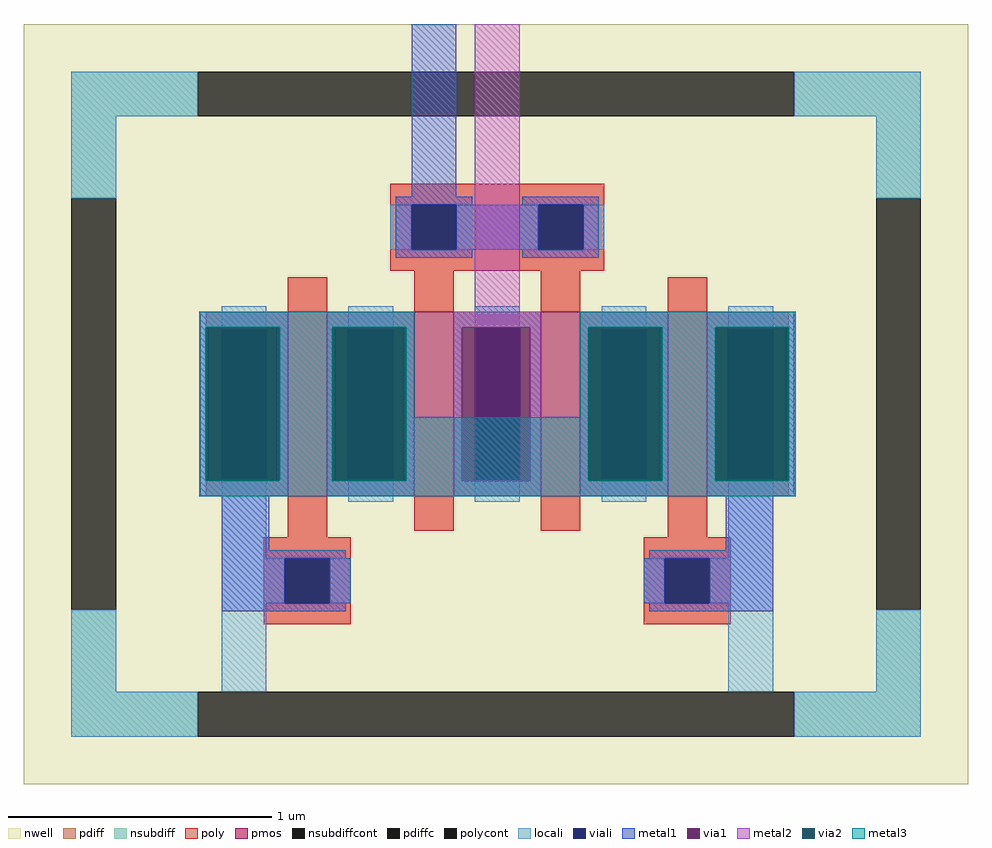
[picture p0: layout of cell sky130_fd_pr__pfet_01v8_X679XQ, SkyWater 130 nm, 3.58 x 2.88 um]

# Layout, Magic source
magic
tech sky130A
magscale 1 2
<< nwell >>
rect -358 -288 358 288
<< pmos >>
rect -158 -70 -128 70
rect -62 -70 -32 70
rect 34 -70 64 70
rect 130 -70 160 70
<< pdiff >>
rect -220 58 -158 70
rect -220 -58 -208 58
rect -174 -58 -158 58
rect -220 -70 -158 -58
rect -128 58 -62 70
rect -128 -58 -112 58
rect -78 -58 -62 58
rect -128 -70 -62 -58
rect -32 58 34 70
rect -32 -58 -16 58
rect 18 -58 34 58
rect -32 -70 34 -58
rect 64 58 130 70
rect 64 -58 80 58
rect 114 -58 130 58
rect 64 -70 130 -58
rect 160 58 222 70
rect 160 -58 176 58
rect 210 -58 222 58
rect 160 -70 222 -58
<< pdiffc >>
rect -208 -58 -174 58
rect -112 -58 -78 58
rect -16 -58 18 58
rect 80 -58 114 58
rect 176 -58 210 58
<< nsubdiff >>
rect -322 218 -226 252
rect 226 218 322 252
rect -322 156 -288 218
rect 288 156 322 218
rect -322 -218 -288 -156
rect 288 -218 322 -156
rect -322 -252 -226 -218
rect 226 -252 322 -218
<< nsubdiffcont >>
rect -226 218 226 252
rect -322 -156 -288 156
rect 288 -156 322 156
rect -226 -252 226 -218
<< poly >>
rect -80 151 82 167
rect -80 117 -64 151
rect -30 117 32 151
rect 66 117 82 151
rect -80 101 82 117
rect -158 70 -128 96
rect -62 70 -32 101
rect 34 70 64 101
rect 130 70 160 96
rect -158 -101 -128 -70
rect -62 -96 -32 -70
rect 34 -96 64 -70
rect 130 -101 160 -70
rect -176 -117 -110 -101
rect -176 -151 -160 -117
rect -126 -151 -110 -117
rect -176 -167 -110 -151
rect 112 -117 178 -101
rect 112 -151 128 -117
rect 162 -151 178 -117
rect 112 -167 178 -151
<< polycont >>
rect -64 117 -30 151
rect 32 117 66 151
rect -160 -151 -126 -117
rect 128 -151 162 -117
<< locali >>
rect -322 218 -226 252
rect 226 218 322 252
rect -322 156 -288 218
rect 288 156 322 218
rect -80 117 -64 151
rect -30 117 32 151
rect 66 117 82 151
rect -322 -218 -288 -156
rect -208 58 -174 74
rect -208 -117 -174 -58
rect -112 58 -78 74
rect -112 -74 -78 -58
rect -16 58 18 74
rect -16 -74 18 -58
rect 80 58 114 74
rect 80 -74 114 -58
rect 176 58 210 74
rect 176 -117 210 -58
rect -208 -151 -160 -117
rect -126 -151 -110 -117
rect 112 -151 128 -117
rect 162 -151 210 -117
rect -208 -218 -174 -151
rect 176 -218 210 -151
rect 288 -218 322 -156
rect -322 -252 -226 -218
rect 226 -252 322 -218
<< viali >>
rect -64 117 -30 151
rect 32 117 66 151
rect -208 -58 -174 58
rect -112 -58 -78 58
rect -16 -58 18 58
rect 80 -58 114 58
rect 176 -58 210 58
rect -160 -151 -126 -117
rect 128 -151 162 -117
<< metal1 >>
rect -64 157 -30 288
rect -76 151 -18 157
rect 20 151 78 157
rect -76 117 -64 151
rect -30 117 32 151
rect 66 117 78 151
rect -76 111 -18 117
rect 20 111 78 117
rect -224 58 -158 70
rect -224 -58 -218 58
rect -166 -58 -158 58
rect -224 -70 -158 -58
rect -128 58 -62 70
rect -128 -58 -122 58
rect -70 -58 -62 58
rect -128 -70 -62 -58
rect -32 58 34 70
rect -32 -58 -26 58
rect 26 -58 34 58
rect -32 -70 34 -58
rect 64 58 130 70
rect 64 -58 70 58
rect 124 -58 130 58
rect 64 -70 130 -58
rect 160 58 226 70
rect 160 -58 166 58
rect 220 -58 226 58
rect 160 -70 226 -58
rect -208 -111 -172 -70
rect 174 -111 210 -70
rect -208 -117 -114 -111
rect 116 -117 210 -111
rect -208 -151 -160 -117
rect -126 -151 -110 -117
rect 112 -151 128 -117
rect 162 -151 210 -117
rect -208 -157 -114 -151
rect 116 -157 210 -151
<< via1 >>
rect -218 -58 -208 58
rect -208 -58 -174 58
rect -174 -58 -166 58
rect -122 -58 -112 58
rect -112 -58 -78 58
rect -78 -58 -70 58
rect -26 -58 -16 58
rect -16 -58 18 58
rect 18 -58 26 58
rect 70 -58 80 58
rect 80 -58 114 58
rect 114 -58 124 58
rect 166 -58 176 58
rect 176 -58 210 58
rect 210 -58 220 58
<< metal2 >>
rect -16 70 18 288
rect -225 58 -158 70
rect -225 -58 -220 58
rect -164 -58 -158 58
rect -225 -70 -158 -58
rect -128 58 -62 70
rect -128 -58 -124 58
rect -68 -58 -62 58
rect -128 -70 -62 -58
rect -32 58 34 70
rect -32 -58 -26 58
rect 26 -58 34 58
rect -32 -70 34 -58
rect 64 58 130 70
rect 64 -58 70 58
rect 126 -58 130 58
rect 64 -70 130 -58
rect 160 58 227 70
rect 160 -58 166 58
rect 222 -58 227 58
rect 160 -70 227 -58
<< via2 >>
rect -220 -58 -218 58
rect -218 -58 -166 58
rect -166 -58 -164 58
rect -124 -58 -122 58
rect -122 -58 -70 58
rect -70 -58 -68 58
rect 70 -58 124 58
rect 124 -58 126 58
rect 166 -58 220 58
rect 220 -58 222 58
<< metal3 >>
rect -225 58 -62 70
rect -225 -58 -220 58
rect -164 -58 -124 58
rect -68 -10 -62 58
rect 64 58 227 70
rect 64 -10 70 58
rect -68 -58 70 -10
rect 126 -58 166 58
rect 222 -58 227 58
rect -225 -70 227 -58
<< properties >>
string FIXED_BBOX -306 -236 306 236
string gencell sky130_fd_pr__pfet_01v8
string library sky130
string parameters w 0.7 l 0.15 m 1 nf 4 diffcov 100 polycov 100 guard 1 glc 1 grc 1 gtc 1 gbc 1 tbcov 100 rlcov 100 topc 1 botc 1 poverlap 0 doverlap 1 lmin 0.15 wmin 0.42 compatible {sky130_fd_pr__pfet_01v8  sky130_fd_pr__pfet_01v8_lvt sky130_fd_pr__pfet_01v8_hvt  sky130_fd_pr__pfet_g5v0d10v5} full_metal 1 viasrc 100 viadrn 100 viagate 100 viagb 0 viagr 0 viagl 0 viagt 0
<< end >>
